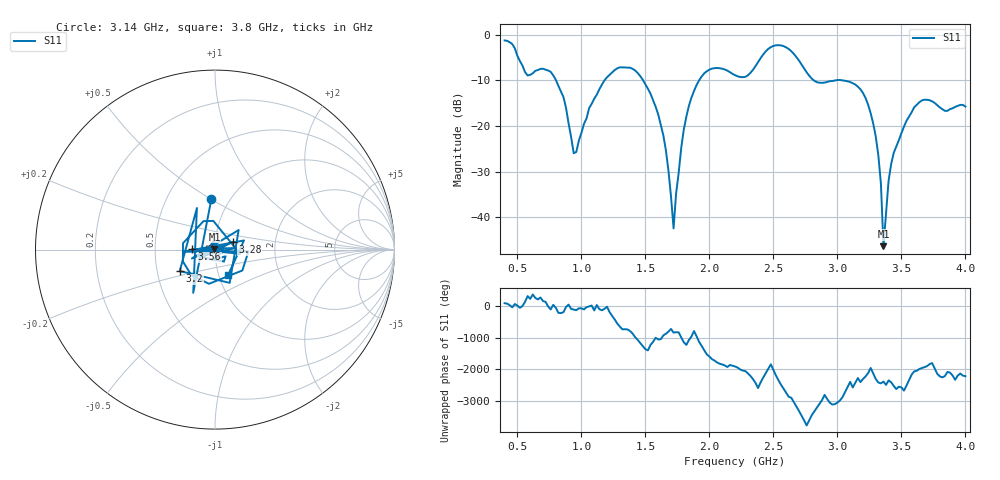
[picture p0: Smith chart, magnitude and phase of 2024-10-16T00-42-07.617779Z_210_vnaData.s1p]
! Created with skrf (http://scikit-rf.org).
# Hz S RI R 50.0
!freq ReS11 ImS11
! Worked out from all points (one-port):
!   181 points, 400 MHz to 4 GHz, reference 50 ohm
!   lowest |S11| = -46.4 dB at 3.36 GHz (marker M1), VSWR 1.01, Z = 49.7 + j0.367 ohm
!   |S11| at or under -10 dB: 801.8 MHz to 1.18 GHz (378.5 MHz wide, 38.2 % of centre); 1.482 GHz to 1.919 GHz (437.1 MHz wide, 25.7 % of centre); 3.042 GHz to end of sweep (the widest 3 of 4)
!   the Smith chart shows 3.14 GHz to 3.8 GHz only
!   S11 on the Smith chart (normalised r, x): 3.14 GHz: 0.82, +0.51; 3.2 GHz: 0.66, -0.17; 3.28 GHz: 1.21, +0.10; 3.56 GHz: 0.78, +0.00; 3.8 GHz: 1.11, -0.32
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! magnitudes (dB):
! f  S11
! 400 MHz  -1.2
! 580 MHz  -8.9
! 760 MHz  -8.1
! 860 MHz  -13.7
! 960 MHz  -25.7
! 1.06 GHz  -16.1
! 1.3 GHz  -7.1
! 1.44 GHz  -8.4
! 1.6 GHz  -17.5
! 1.66 GHz  -25.3
! 1.72 GHz  -42.5
! 1.76 GHz  -30.3
! 1.82 GHz  -18.0
! 1.92 GHz  -10.0
! 2.2 GHz  -8.9
! 2.5 GHz  -2.4
! 2.66 GHz  -4.2
! 2.84 GHz  -10.4
! 3.1 GHz  -10.4
! 3.14 GHz  -10.9
! 3.2 GHz  -12.8
! 3.28 GHz  -19.5
! 3.34 GHz  -32.6
! 3.36 GHz  -46.4
! 3.42 GHz  -28.3
! 3.56 GHz  -17.9
! 3.8 GHz  -15.9
! 4 GHz  -15.7
